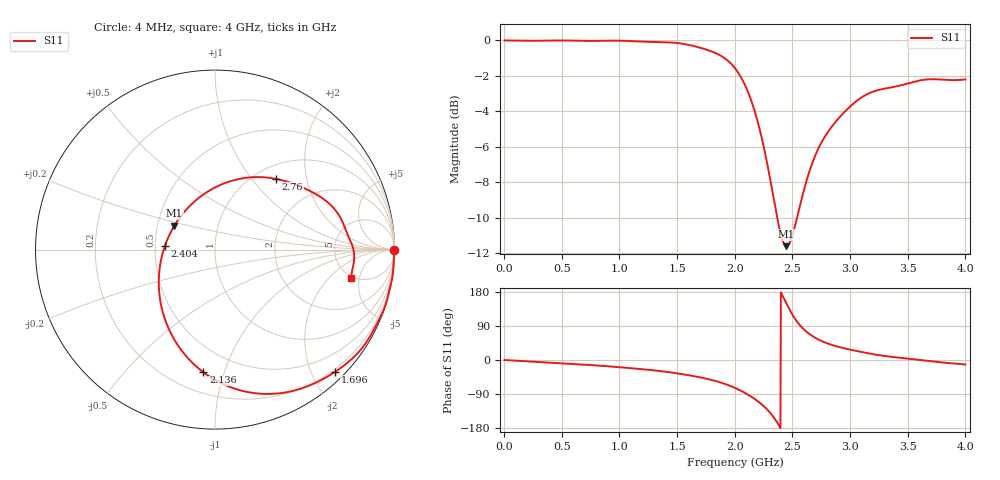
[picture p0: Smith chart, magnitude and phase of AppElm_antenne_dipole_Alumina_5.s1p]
! TOUCHSTONE file generated by CST MICROWAVE STUDIO
! Date and time: Sat May 14 11:21:39 2022
! Project name: AppElm_antenne_dipole_Alumina.cst
! Parameters = {L=33; e=0.035; f=2.45e+09; h=1.6; i=0.8; l1=2; lambda=122.449; ls=30; wl=1.7; ws=76}
! Header version: 2018
! Port assignment regex: !\s*Touchstone port\s*([0-9]+)\s*=\s*(CST MWS port|CST DS port)\s*([0-9]+|Zmin|Zmax)\s*\(\"(.*)\"\)(\s*mode\s*([0-9]+))?.*
! Touchstone port assignment:
! Touchstone port 1 = CST MWS port 1 ("")
# GHz S MA R 50
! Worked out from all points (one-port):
!   1000 points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, 4 MHz to 4 GHz, reference 50 ohm
!   lowest |S11| = -11.6 dB at 2.448 GHz (marker M1), VSWR 1.71, Z = 30.6 + j8.83 ohm
!   |S11| at or under -10 dB: 2.368 GHz to 2.54 GHz (172.7 MHz wide, 7.04 % of centre)
!   S11 on the Smith chart (normalised r, x): 4 MHz: open; 1.696 GHz: 0.15, -2.37; 2.136 GHz: 0.33, -0.85; 2.404 GHz: 0.56, +0.03; 2.76 GHz: 1.24, +1.34; 4 GHz: 4.80, -3.83
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0.004  1 -0.1
0.504  1 -8.7
1.004  0.9984 -19.1
1.32  0.9902 -28.0
1.504  0.9833 -35.4
1.696  0.9545 -45.6
1.784  0.935 -51.5
1.86  0.9126 -57.7
1.932  0.8812 -65.1
2.004  0.8331 -74.0
2.072  0.7676 -84.1
2.136  0.6863 -95.4
2.212  0.5681 -111.7
2.28  0.4515 -130.3
2.34  0.354 -152.2
2.404  0.2798 175.8
2.448  0.2626 149.3
2.504  0.2845 117.5
2.56  0.336 93.5
2.62  0.3993 75.2
2.684  0.4612 61.1
2.76  0.5211 49.1
2.864  0.5839 37.7
3.004  0.6526 27.2
3.204  0.7178 15.1
3.504  0.7567 3.6
3.684  0.7768 -2.8
4  0.7762 -11.8
